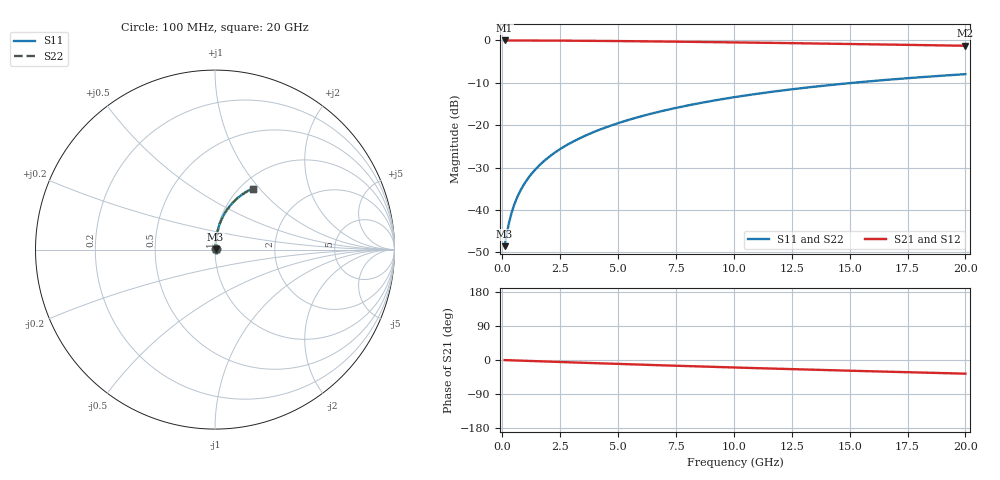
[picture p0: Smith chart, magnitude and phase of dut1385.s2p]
! Touchstone file exported from HFSS 2024.1.0
!  File:  C:/UserFiles/LocalFiles/RDL_TSV_Batchsim/temp_RDL_top_1385_1780367527.aedt
!  Generated:  10:34:37 AM Jun  2, 2026
!  Design:  RDL_top
!  Project:  temp_RDL_top_1385_1780367527
!  Setup:  Setup1
!  Solution:  Sweep
! Variables:
!  dtsv = 10.80580581um
!  hbump = 3um
!  htsv = 82.15um
!  ldown = 100um
!  lrdl = 433.48um
!  p = 40
!  p1 = 59.48um
!  rhole = 1um
!  t = 450um
!  tdown = 3.915915916um
!  trdl = 2.93um
!  wdown = 15.38538539um
!  wrdl = 18.55um
# GHz S MA R 50.000000
! Terminal data exported
! Port[1] = Box2_T1
! Port[2] = Box2_T2
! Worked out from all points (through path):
!   200 points, 100 MHz to 20 GHz, reference 50 ohm
!   highest |S21| = -0.03 dB at 100 MHz (marker M1); lowest = -1.3 dB at 20 GHz (marker M2)
!   group delay of S21, straight-line fit = 4.99 ps
!   lowest |S11| = -48.5 dB at 100 MHz (marker M3), VSWR 1.01, Z = 50.3 + j0.221 ohm
!   |S11| at or under -10 dB: start of sweep to 15.17 GHz
!   |S22| runs from -48.5 to -8.0 dB; largest |S21 - S12| = 2.6e-15
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0.1  0.003742 35.9  0.997 -0.2  0.997 -0.2  0.003742 35.9
! Gamma 0 0 0 0
! Port Impedance 50 0 50 0
0.2  0.005361 54.6  0.9969 -0.4  0.9969 -0.4  0.005361 54.6
0.3  0.007256 63.7  0.9968 -0.7  0.9968 -0.7  0.007256 63.7
0.4  0.009229 68.8  0.9966 -0.9  0.9966 -0.9  0.009229 68.8
0.5  0.01123 72.1  0.9965 -1.1  0.9965 -1.1  0.01123 72.1
0.6  0.01323 74.4  0.9963 -1.3  0.9963 -1.3  0.01323 74.4
0.8  0.01726 77.4  0.996 -1.7  0.996 -1.7  0.01726 77.4
1.1  0.02334 79.9  0.9955 -2.3  0.9955 -2.3  0.02334 79.9
1.5  0.03153 81.7  0.9948 -3.2  0.9948 -3.2  0.03153 81.7
1.8  0.03772 82.5  0.9941 -3.8  0.9941 -3.8  0.03772 82.5
2.1  0.04394 82.9  0.9933 -4.4  0.9933 -4.4  0.04394 82.9
2.7  0.05648 83.3  0.9914 -5.7  0.9914 -5.7  0.05648 83.3
3.5  0.07338 83.1  0.9882 -7.3  0.9882 -7.3  0.07338 83.1
4.2  0.08832 82.7  0.985 -8.7  0.985 -8.7  0.08832 82.7
5  0.1055 81.9  0.9808 -10.3  0.9808 -10.3  0.1055 81.9
5.9  0.125 80.9  0.9755 -12.1  0.9755 -12.1  0.125 80.9
6.8  0.1446 79.7  0.9697 -13.8  0.9697 -13.8  0.1446 79.7
8.4  0.1792 77.3  0.9586 -16.8  0.9586 -16.8  0.1792 77.3
10.1  0.2154 74.5  0.9459 -19.9  0.9459 -19.9  0.2154 74.5
13.4  0.2825 69.0  0.9194 -25.6  0.9194 -25.6  0.2825 69.0
16.7  0.344 63.6  0.8915 -31.0  0.8915 -31.0  0.344 63.6
20  0.3991 58.4  0.863 -36.1  0.863 -36.1  0.3992 58.4
